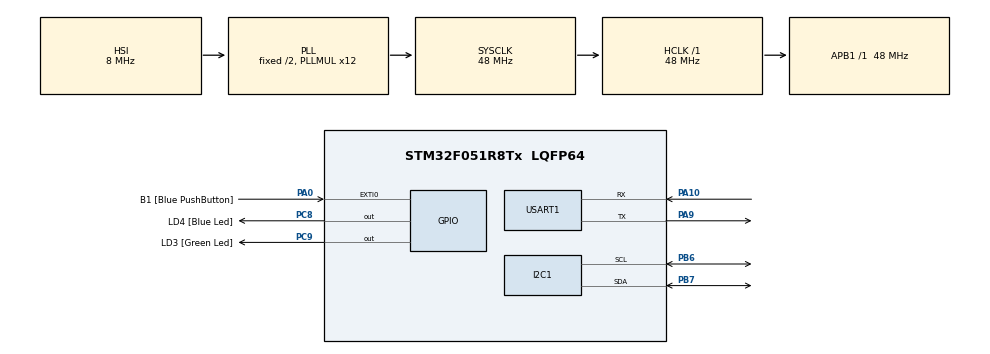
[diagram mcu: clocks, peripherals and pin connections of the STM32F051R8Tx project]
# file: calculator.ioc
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Dma.Request0=USART1_RX
Dma.Request1=USART1_TX
Dma.USART1_RX.0.Direction=DMA_PERIPH_TO_MEMORY
Dma.USART1_RX.0.Instance=DMA1_Channel3
Dma.USART1_RX.0.MemDataAlignment=DMA_MDATAALIGN_BYTE
Dma.USART1_RX.0.MemInc=DMA_MINC_ENABLE
Dma.USART1_RX.0.Mode=DMA_NORMAL
Dma.USART1_RX.0.PeriphDataAlignment=DMA_PDATAALIGN_BYTE
Dma.USART1_RX.0.PeriphInc=DMA_PINC_DISABLE
Dma.USART1_RX.0.Priority=DMA_PRIORITY_MEDIUM
Dma.USART1_TX.1.Direction=DMA_MEMORY_TO_PERIPH
Dma.USART1_TX.1.Instance=DMA1_Channel2
Dma.USART1_TX.1.MemDataAlignment=DMA_MDATAALIGN_BYTE
Dma.USART1_TX.1.MemInc=DMA_MINC_ENABLE
Dma.USART1_TX.1.Mode=DMA_NORMAL
Dma.USART1_TX.1.PeriphDataAlignment=DMA_PDATAALIGN_BYTE
Dma.USART1_TX.1.PeriphInc=DMA_PINC_DISABLE
Dma.USART1_TX.1.Priority=DMA_PRIORITY_MEDIUM
Mcu.Family=STM32F0
Mcu.Name=STM32F051R8Tx
Mcu.Package=LQFP64
NVIC.DMA1_Channel2_3_IRQn=true\:0\:0\:false\:false\:true\:false\:true\:true
NVIC.USART1_IRQn=true\:0\:0\:false\:false\:true\:true\:true\:true
PA0.GPIO_Label=B1 [Blue PushButton]
PA0.GPIO_ModeDefaultEXTI=GPIO_MODE_EVT_RISING
PA0.Signal=GPXTI0
PA10.Mode=Asynchronous
PA10.Signal=USART1_RX
PA13.GPIO_Label=SWDIO
PA13.Mode=Serial_Wire
PA13.Signal=SYS_SWDIO
PA14.GPIO_Label=SWCLK
PA14.Mode=Serial_Wire
PA14.Signal=SYS_SWCLK
PA9.Mode=Asynchronous
PA9.Signal=USART1_TX
PB6.Mode=I2C
PB6.Signal=I2C1_SCL
PB7.Mode=I2C
PB7.Signal=I2C1_SDA
PC8.GPIO_Label=LD4 [Blue Led]
PC8.Signal=GPIO_Output
PC9.GPIO_Label=LD3 [Green Led]
PC9.Signal=GPIO_Output
PF0-OSC_IN.Mode=HSE-External-Oscillator
PF0-OSC_IN.Signal=RCC_OSC_IN
PF1-OSC_OUT.Mode=HSE-External-Oscillator
PF1-OSC_OUT.Signal=RCC_OSC_OUT
ProjectManager.HeapSize=0x200
ProjectManager.StackSize=0x400
ProjectManager.TargetToolchain=STM32CubeIDE
RCC.AHBFreq_Value=48000000
RCC.APB1Freq_Value=48000000
RCC.APB1TimFreq_Value=48000000
RCC.HCLKFreq_Value=48000000
RCC.PLLMUL=RCC_PLL_MUL12
RCC.SYSCLKFreq_VALUE=48000000
RCC.SYSCLKSource=RCC_SYSCLKSOURCE_PLLCLK
USART1.VirtualMode-Asynchronous=VM_ASYNC
board=STM32F0DISCOVERY

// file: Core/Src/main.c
/* USER CODE BEGIN Header */
/**
  ******************************************************************************
  * @file           : main.c
  * @brief          : Main program body
  ******************************************************************************
  * @attention
  *
  * Copyright (c) 2022 STMicroelectronics.
  * All rights reserved.
  *
  * This software is licensed under terms that can be found in the LICENSE file
  * in the root directory of this software component.
  * If no LICENSE file comes with this software, it is provided AS-IS.
  *
  ******************************************************************************
  */
/* USER CODE END Header */
#include "main.h"

I2C_HandleTypeDef hi2c1;

UART_HandleTypeDef huart1;
DMA_HandleTypeDef hdma_usart1_rx;
DMA_HandleTypeDef hdma_usart1_tx;

/* USER CODE BEGIN PV */
#define SIZE 5
int sizeval;
float result = 0;
double num1 = 0;
float num2 = 0;
char islem;
char Rx_data[SIZE];
uint8_t flag = 0;
uint8_t flagnum1 = 0;
uint8_t flagnum2 = 0;
uint8_t count = 0;
int resetcount = 25;
char num1arr[]="num1:";
char num2arr[]="num2:";
char resultArr[]="result:";
char islemArr[] = "islem:";

/* USER CODE END PV */

void SystemClock_Config(void);
static void MX_GPIO_Init(void);
static void MX_DMA_Init(void);
static void MX_I2C1_Init(void);
static void MX_USART1_UART_Init(void);

/* USER CODE BEGIN 0 */
void HAL_UARTEx_RxEventCallback(UART_HandleTypeDef *huart, uint16_t Size)//hat boşa cıktığında olması girecek fonksiyon
{
	if (huart->Instance == USART1)
	{
		HAL_UARTEx_ReceiveToIdle_DMA(&huart1, Rx_data, SIZE);
		__HAL_DMA_DISABLE_IT(&hdma_usart1_rx, DMA_IT_HT); // trasferin yarısındayken trasferi kesmeemeesi için kullanılan fonksiyondur.
		sizeval = Size;
		for (int i = sizeval; i < SIZE; i++)
		{
			Rx_data[i] = 0;
		}
		flag = 1; //haberleşmenin bittiği ve gösteren flag
		count++;

		if(count == 1)
		{
			lcd_put_cur(0, 0);
			lcd_send_string("num2 giriniz");

		}

	}
}

/*void convertStrtoArr(string str)
{

}*/

void printlcd(char numarr[])
{
	//lcd_clear();
	lcd_put_cur(1, 0);
	lcd_send_string(numarr);
	HAL_Delay(500);
	lcd_put_cur(1, strlen(numarr)+1);
	lcd_send_string(Rx_data);
	HAL_Delay(1000);
	lcd_put_cur(1, 0);
	lcd_send_string("                ");

}

/* USER CODE END 0 */

int main(void)
{

  /* MCU Configuration--------------------------------------------------------*/

  /* Reset of all peripherals, Initializes the Flash interface and the Systick. */
  HAL_Init();

  /* Configure the system clock */
  SystemClock_Config();

  /* Initialize all configured peripherals */
  MX_GPIO_Init();
  MX_DMA_Init();
  MX_I2C1_Init();
  MX_USART1_UART_Init();
  /* USER CODE BEGIN 2 */
  lcd_init();
  lcd_clear();
  lcd_put_cur(0, 0);
  lcd_send_string("num1 giriniz");

  HAL_UARTEx_ReceiveToIdle_DMA(&huart1, Rx_data, SIZE);
  __HAL_DMA_DISABLE_IT(&hdma_usart1_rx, DMA_IT_HT);

 /* if(resetcount <=0)
  {
	HAL_NVIC_SystemReset();
	resetcount = 20;
  }*/
  /* USER CODE END 2 */

  /* Infinite loop */
  /* USER CODE BEGIN WHILE */
  while (1)
  {

	 if(1 == count && flag == 1 )
	 {
			 flag  = 0;
			 num1 = atoi(Rx_data); //strtof(Rx_data, NULL); //char to float
			 printlcd(num1arr);

	 }

	 else if(2 == count)
	 {
		 if(num2 !=0){
			lcd_put_cur(0, 0);
			lcd_send_string("yapilacak islem ?");
			lcd_put_cur(1, 0);
			lcd_send_string("                  ");
		 }else
		 {
			 flagnum1 = 0;
			 //lcd_clear();
			 num2 = atoi(Rx_data); //atoff
			 //lcd_send_string(num2arr);
			 printlcd(num2arr);
			 HAL_Delay(1000);
			 lcd_clear();
		 }

	 }

	 else if(3 == count)
	 {
		 flagnum2 == 1;
		 count=1;
		 lcd_clear();
		 islem = Rx_data[0];
		 printlcd(islemArr);

		 switch (Rx_data[0])
		 {
			case '+':
				result = num1+num2;
				sprintf(Rx_data, "%f", result);
				printlcd(resultArr);
				break;
			case '-':
				result = num1-num2;
				sprintf(Rx_data, "%f", result);
				printlcd(resultArr);
				break;
			case '/':
				result = num1/num2;
				sprintf(Rx_data, "%f", result); //make the number into string using sprintf function
				printlcd(resultArr);
				break;
			case '*':
				result = num1*num2;
				sprintf(Rx_data, "%f", result);
				printlcd(resultArr);
				break;
			default:
				break;
		}
	}
	 else
	{

		HAL_Delay(500);
		resetcount = resetcount-1;
		if(resetcount <=0)
		{

			flagnum2 == 0;
			lcd_clear();
			lcd_put_cur(0, 0);
			lcd_send_string("num1 giriniz");
			count = 0;
			num1, num2 = 0;

			resetcount = 25;
		}

		 //HAL_IWDG_Refresh(&hiwdg);

	}

    /* USER CODE END WHILE */

  }
}

void SystemClock_Config(void)
{
  RCC_OscInitTypeDef RCC_OscInitStruct = {0};
  RCC_ClkInitTypeDef RCC_ClkInitStruct = {0};
  RCC_PeriphCLKInitTypeDef PeriphClkInit = {0};

  /** Initializes the RCC Oscillators according to the specified parameters
  * in the RCC_OscInitTypeDef structure.
  */
  RCC_OscInitStruct.OscillatorType = RCC_OSCILLATORTYPE_HSI;
  RCC_OscInitStruct.HSIState = RCC_HSI_ON;
  RCC_OscInitStruct.HSICalibrationValue = RCC_HSICALIBRATION_DEFAULT;
  RCC_OscInitStruct.PLL.PLLState = RCC_PLL_ON;
  RCC_OscInitStruct.PLL.PLLSource = RCC_PLLSOURCE_HSI;
  RCC_OscInitStruct.PLL.PLLMUL = RCC_PLL_MUL12;
  RCC_OscInitStruct.PLL.PREDIV = RCC_PREDIV_DIV1;
  if (HAL_RCC_OscConfig(&RCC_OscInitStruct) != HAL_OK)
  {
    Error_Handler();
  }

  /** Initializes the CPU, AHB and APB buses clocks
  */
  RCC_ClkInitStruct.ClockType = RCC_CLOCKTYPE_HCLK|RCC_CLOCKTYPE_SYSCLK
                              |RCC_CLOCKTYPE_PCLK1;
  RCC_ClkInitStruct.SYSCLKSource = RCC_SYSCLKSOURCE_PLLCLK;
  RCC_ClkInitStruct.AHBCLKDivider = RCC_SYSCLK_DIV1;
  RCC_ClkInitStruct.APB1CLKDivider = RCC_HCLK_DIV1;

  if (HAL_RCC_ClockConfig(&RCC_ClkInitStruct, FLASH_LATENCY_1) != HAL_OK)
  {
    Error_Handler();
  }
  PeriphClkInit.PeriphClockSelection = RCC_PERIPHCLK_USART1|RCC_PERIPHCLK_I2C1;
  PeriphClkInit.Usart1ClockSelection = RCC_USART1CLKSOURCE_PCLK1;
  PeriphClkInit.I2c1ClockSelection = RCC_I2C1CLKSOURCE_HSI;
  if (HAL_RCCEx_PeriphCLKConfig(&PeriphClkInit) != HAL_OK)
  {
    Error_Handler();
  }
}

static void MX_I2C1_Init(void)
{

  hi2c1.Instance = I2C1;
  hi2c1.Init.Timing = 0x2000090E;
  hi2c1.Init.OwnAddress1 = 0;
  hi2c1.Init.AddressingMode = I2C_ADDRESSINGMODE_7BIT;
  hi2c1.Init.DualAddressMode = I2C_DUALADDRESS_DISABLE;
  hi2c1.Init.OwnAddress2 = 0;
  hi2c1.Init.OwnAddress2Masks = I2C_OA2_NOMASK;
  hi2c1.Init.GeneralCallMode = I2C_GENERALCALL_DISABLE;
  hi2c1.Init.NoStretchMode = I2C_NOSTRETCH_DISABLE;
  if (HAL_I2C_Init(&hi2c1) != HAL_OK)
  {
    Error_Handler();
  }

  /** Configure Analogue filter
  */
  if (HAL_I2CEx_ConfigAnalogFilter(&hi2c1, I2C_ANALOGFILTER_ENABLE) != HAL_OK)
  {
    Error_Handler();
  }

  /** Configure Digital filter
  */
  if (HAL_I2CEx_ConfigDigitalFilter(&hi2c1, 0) != HAL_OK)
  {
    Error_Handler();
  }

}

static void MX_USART1_UART_Init(void)
{

  huart1.Instance = USART1;
  huart1.Init.BaudRate = 38400;
  huart1.Init.WordLength = UART_WORDLENGTH_8B;
  huart1.Init.StopBits = UART_STOPBITS_1;
  huart1.Init.Parity = UART_PARITY_NONE;
  huart1.Init.Mode = UART_MODE_TX_RX;
  huart1.Init.HwFlowCtl = UART_HWCONTROL_NONE;
  huart1.Init.OverSampling = UART_OVERSAMPLING_16;
  huart1.Init.OneBitSampling = UART_ONE_BIT_SAMPLE_DISABLE;
  huart1.AdvancedInit.AdvFeatureInit = UART_ADVFEATURE_NO_INIT;
  if (HAL_UART_Init(&huart1) != HAL_OK)
  {
    Error_Handler();
  }

}

static void MX_DMA_Init(void)
{

  /* DMA controller clock enable */
  __HAL_RCC_DMA1_CLK_ENABLE();

  /* DMA interrupt init */
  /* DMA1_Channel2_3_IRQn interrupt configuration */
  HAL_NVIC_SetPriority(DMA1_Channel2_3_IRQn, 0, 0);
  HAL_NVIC_EnableIRQ(DMA1_Channel2_3_IRQn);

}

static void MX_GPIO_Init(void)
{
  GPIO_InitTypeDef GPIO_InitStruct = {0};

  /* GPIO Ports Clock Enable */
  __HAL_RCC_GPIOF_CLK_ENABLE();
  __HAL_RCC_GPIOA_CLK_ENABLE();
  __HAL_RCC_GPIOC_CLK_ENABLE();
  __HAL_RCC_GPIOB_CLK_ENABLE();

  /*Configure GPIO pin Output Level */
  HAL_GPIO_WritePin(GPIOC, LD4_Pin|LD3_Pin, GPIO_PIN_RESET);

  /*Configure GPIO pin : B1_Pin */
  GPIO_InitStruct.Pin = B1_Pin;
  GPIO_InitStruct.Mode = GPIO_MODE_EVT_RISING;
  GPIO_InitStruct.Pull = GPIO_NOPULL;
  HAL_GPIO_Init(B1_GPIO_Port, &GPIO_InitStruct);

  /*Configure GPIO pins : LD4_Pin LD3_Pin */
  GPIO_InitStruct.Pin = LD4_Pin|LD3_Pin;
  GPIO_InitStruct.Mode = GPIO_MODE_OUTPUT_PP;
  GPIO_InitStruct.Pull = GPIO_NOPULL;
  GPIO_InitStruct.Speed = GPIO_SPEED_FREQ_LOW;
  HAL_GPIO_Init(GPIOC, &GPIO_InitStruct);

}

void Error_Handler(void)
{
  __disable_irq();
  while (1)
  {
  }
}
